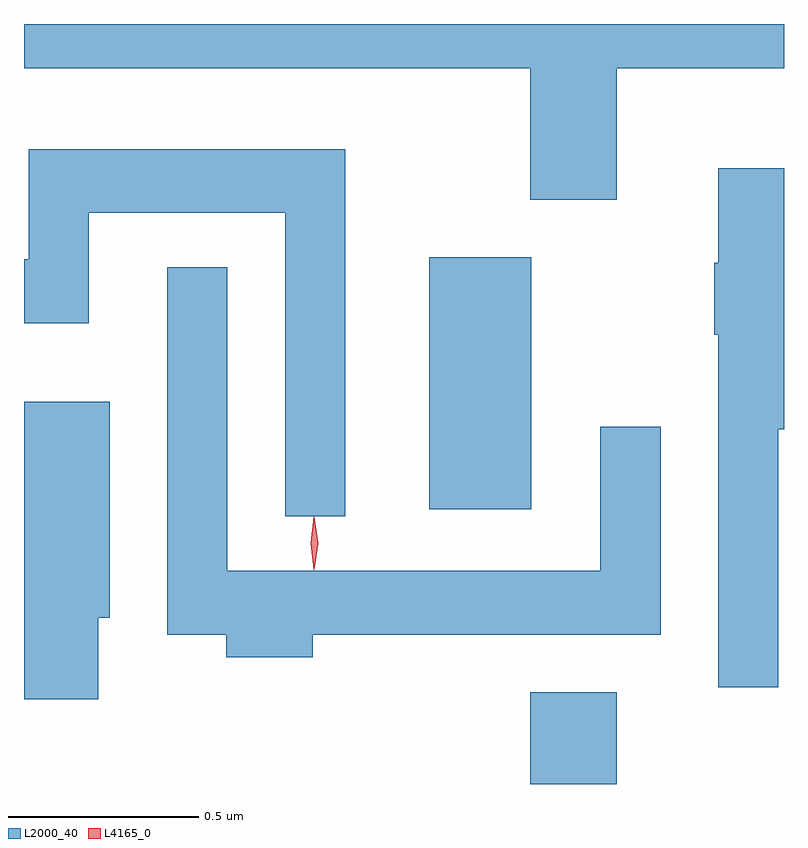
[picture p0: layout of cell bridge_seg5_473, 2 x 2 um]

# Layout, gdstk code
import gdstk
lib = gdstk.Library(unit=1e-6, precision=1e-09)
def R(c, l, rs):  # rectangles x0, y0, x1, y1
    for r in rs: c.add(gdstk.rectangle(r[:2], r[2:], *l))
def P(c, l, *ps):  # polygons
    for p in ps: c.add(gdstk.Polygon(p, *l))
L2000_40 = (2000, 40)
L4165_0 = (4165, 0)

bridge_seg5_473 = lib.new_cell('bridge_seg5_473')
R(bridge_seg5_473, L2000_40, [(384.981,1490.433,385.209,1490.674), (384.716,1491.156,384.984,1491.819)])
P(bridge_seg5_473, L2000_40, [(385.209,1492.316),(385.649,1492.316),(385.649,1492.433),(383.649,1492.433),(383.649,1492.316),(384.981,1492.316),(384.981,1491.971),(385.209,1491.971)],
  [(384.494,1492.104),(383.661,1492.104),(383.661,1491.814),(383.649,1491.814),(383.649,1491.646),(383.819,1491.646),(383.819,1491.936),(384.336,1491.936),(384.336,1491.138),(384.494,1491.138)],
  [(385.634,1491.366),(385.649,1491.366),(385.649,1492.054),(385.476,1492.054),(385.476,1491.805),(385.466,1491.805),(385.466,1491.615),(385.476,1491.615),(385.476,1490.688),(385.634,1490.688)],
  [(384.409,1490.826),(385.324,1490.826),(385.324,1491.373),(385.166,1491.373),(385.166,1490.994),(384.184,1490.994),(384.184,1491.793),(384.026,1491.793),(384.026,1490.826),(384.181,1490.826),(384.181,1490.766),(384.409,1490.766)],
  [(383.844,1490.871),(383.874,1490.871),(383.874,1491.439),(383.649,1491.439),(383.649,1490.656),(383.844,1490.656)])
P(bridge_seg5_473, L4165_0, [(384.412,1490.997),(384.403,1491.067),(384.412,1491.136),(384.413,1491.136),(384.413,1491.136),(384.423,1491.067),(384.413,1490.997),(384.413,1490.997)])

lib.write_gds('bridge_seg5_473.gds')
